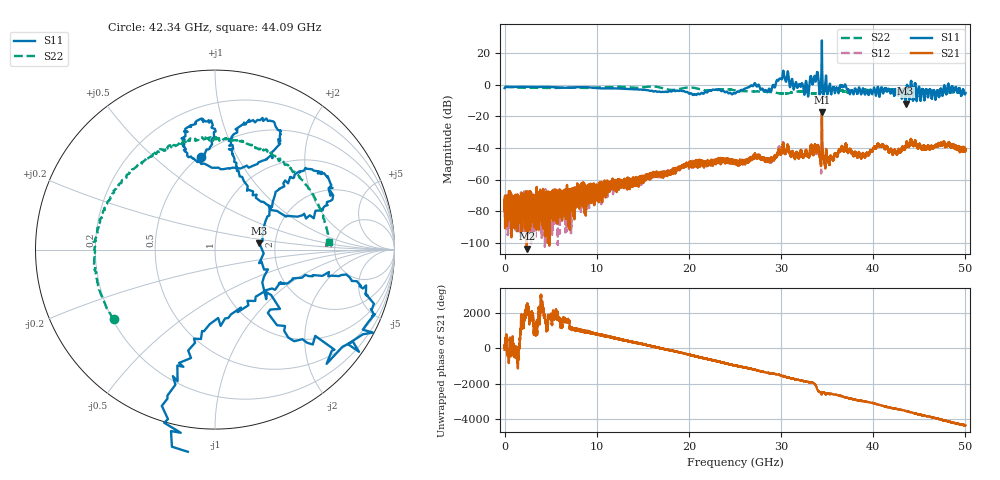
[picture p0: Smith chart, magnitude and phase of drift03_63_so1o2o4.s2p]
!Created with skrf (http://scikit-rf.org).
# Hz S RI R 50.0
!freq ReS11 ImS11 ReS21 ImS21 ReS12 ImS12 ReS22 ImS22
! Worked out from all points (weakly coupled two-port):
!   10000 points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, 5.3 MHz to 50 GHz, reference 50 ohm
!   highest |S21| = -17.38 dB at 34.43 GHz (marker M1); lowest = -103.7 dB at 2.415 GHz (marker M2)
!   lowest |S11| = -12.0 dB at 43.52 GHz (marker M3), VSWR 1.67, Z = 82.6 + j6.04 ohm
!   |S11| at or under -10 dB: 43.48619 GHz to 43.55239 GHz (66.2 MHz wide, 0.152 % of centre); 44.31384 GHz to 44.31564 GHz (1.8 MHz wide, 0.00406 % of centre); 44.70619 GHz to 44.71291 GHz (6.719 MHz wide, 0.015 % of centre) (the widest 3 of 5)
!   |S22| runs from -5.8 to -1.1 dB; largest |S21 - S12| = 0.041
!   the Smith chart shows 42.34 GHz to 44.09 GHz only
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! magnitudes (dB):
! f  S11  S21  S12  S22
! 5.3 MHz  -2.1  -78.8  -75.2  -1.3
! 2.415 GHz  -1.4  -103.7  -71.5  -2.0
! 8.34 GHz  -1.5  -65.3  -64.7  -2.1
! 16.67 GHz  -4.4  -56.7  -55.4  -1.5
! 20.27 GHz  -5.5  -49.2  -49.9  -1.8
! 25.01 GHz  -5.5  -48.7  -49.3  -3.5
! 27.02 GHz  -0.3  -46.0  -46.0  -4.3
! 28.72 GHz  -2.5  -48.5  -48.0  -4.5
! 30.14 GHz  4.4  -40.3  -40.6  -5.7
! 32.74 GHz  2.1  -41.8  -42.4  -4.6
! 33.34 GHz  2.7  -39.5  -40.1  -5.5
! 33.82 GHz  4.0  -41.8  -42.0  -5.7
! 34.43 GHz  28.0  -17.4  -19.7  -4.6
! 35.39 GHz  -4.3  -45.8  -45.2  -3.3
! 36.84 GHz  -0.8  -42.2  -41.4  -4.3
! 38.86 GHz  -2.5  -44.1  -43.9  -3.2
! 40.59 GHz  -3.7  -38.1  -38.3  -4.0
! 41.67 GHz  -2.9  -41.8  -42.0  -3.3
! 43.52 GHz  -12.0  -39.2  -38.9  -4.2
! 46.94 GHz  -3.8  -38.6  -38.4  -4.8
! 48.32 GHz  -4.4  -37.7  -37.9  -4.6
! 50 GHz  -5.2  -40.8  -41.5  -4.5
